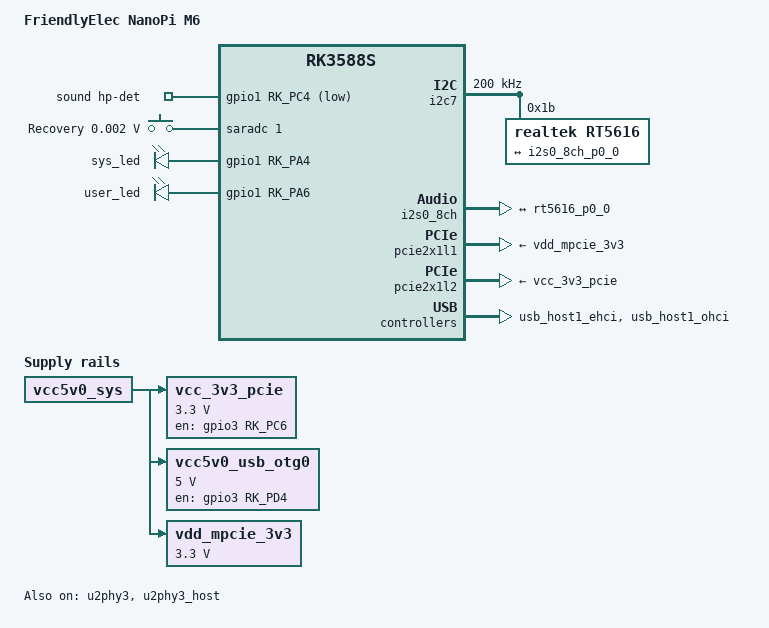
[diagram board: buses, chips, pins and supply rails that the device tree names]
// SPDX-License-Identifier: (GPL-2.0+ OR MIT)

/dts-v1/;

#include "rk3588s-nanopi.dtsi"

/ {
	model = "FriendlyElec NanoPi M6";
	compatible = "friendlyarm,nanopi-m6", "rockchip,rk3588s";

	sound {
		compatible = "simple-audio-card";
		pinctrl-names = "default";
		pinctrl-0 = <&hp_det>;

		simple-audio-card,name = "realtek,rt5616-codec";
		simple-audio-card,format = "i2s";
		simple-audio-card,mclk-fs = <256>;

		simple-audio-card,hp-det-gpios = <&gpio1 RK_PC4 GPIO_ACTIVE_LOW>;

		simple-audio-card,widgets =
			"Headphone", "Headphones",
			"Microphone", "Microphone Jack";
		simple-audio-card,routing =
			"Headphones", "HPOL",
			"Headphones", "HPOR",
			"MIC1", "Microphone Jack",
			"Microphone Jack", "micbias1";

		simple-audio-card,cpu {
			sound-dai = <&i2s0_8ch>;
		};

		simple-audio-card,codec {
			sound-dai = <&rt5616>;
		};
	};

	adc-keys-1 {
		compatible = "adc-keys";
		io-channels = <&saradc 1>;
		io-channel-names = "buttons";
		keyup-threshold-microvolt = <1800000>;
		poll-interval = <100>;

		button-maskrom {
			label = "Recovery";
			linux,code = <KEY_VENDOR>;
			press-threshold-microvolt = <1800>;
		};
	};

	leds {
		compatible = "gpio-leds";

		sys_led: led-0 {
			label = "sys_led";
			gpios = <&gpio1 RK_PA4 GPIO_ACTIVE_HIGH>;
			linux,default-trigger = "heartbeat";
			pinctrl-names = "default";
			pinctrl-0 = <&sys_led_pin>;
		};

		user_led: led-1 {
			label = "user_led";
			gpios = <&gpio1 RK_PA6 GPIO_ACTIVE_HIGH>;
			pinctrl-names = "default";
			pinctrl-0 = <&user_led_pin>;
		};
	};

	vcc_3v3_pcie: regulator-vcc-3v3-pcie {
		compatible = "regulator-fixed";
		enable-active-high;
		gpios = <&gpio3 RK_PC6 GPIO_ACTIVE_HIGH>;
		pinctrl-names = "default";
		pinctrl-0 = <&pcie2_2_pwren>;
		regulator-name = "vcc_3v3_pcie";
		regulator-min-microvolt = <3300000>;
		regulator-max-microvolt = <3300000>;
		vin-supply = <&vcc5v0_sys>;
	};

	vcc5v0_usb_otg0: regulator-vcc5v0-usb-otg0 {
		compatible = "regulator-fixed";
		enable-active-high;
		gpios = <&gpio3 RK_PD4 GPIO_ACTIVE_HIGH>;
		pinctrl-names = "default";
		pinctrl-0 = <&typec5v_pwren>;
		regulator-name = "vcc5v0_usb_otg0";
		regulator-min-microvolt = <5000000>;
		regulator-max-microvolt = <5000000>;
		vin-supply = <&vcc5v0_sys>;
	};

	vdd_mpcie_3v3: regulator-vdd-mpcie-3v3 {
		compatible = "regulator-fixed";
		/* Controlled by EXT_EN on RK806 */
		regulator-name = "vdd_mpcie_3v3";
		regulator-min-microvolt = <3300000>;
		regulator-max-microvolt = <3300000>;
		vin-supply = <&vcc5v0_sys>;
	};
};

&i2c7 {
	clock-frequency = <200000>;
	status = "okay";

	rt5616: codec@1b {
		compatible = "realtek,rt5616";
		reg = <0x1b>;
		clocks = <&cru I2S0_8CH_MCLKOUT>;
		clock-names = "mclk";
		#sound-dai-cells = <0>;
		assigned-clocks = <&cru I2S0_8CH_MCLKOUT>;
		assigned-clock-rates = <12288000>;

		port {
			rt5616_p0_0: endpoint {
				remote-endpoint = <&i2s0_8ch_p0_0>;
			};
		};
	};
};

&i2s0_8ch {
	pinctrl-names = "default";
	pinctrl-0 = <&i2s0_lrck
		     &i2s0_mclk
		     &i2s0_sclk
		     &i2s0_sdi0
		     &i2s0_sdo0>;
	status = "okay";

	i2s0_8ch_p0: port {
		i2s0_8ch_p0_0: endpoint {
			dai-format = "i2s";
			mclk-fs = <256>;
			remote-endpoint = <&rt5616_p0_0>;
		};
	};
};

&pcie2x1l1 { /* M.2 E-key 2230 */
	vpcie3v3-supply = <&vdd_mpcie_3v3>;
};

&pcie2x1l2 { /* M.2 M-key 2280 */
	pinctrl-0 = <&pcie2_2_rst>, <&pcie20x1m0_clkreqn>, <&pcie20x1m0_waken>;
	vpcie3v3-supply = <&vcc_3v3_pcie>;
};

&pinctrl {
	gpio-leds {
		sys_led_pin: sys-led-pin {
			rockchip,pins = <1 RK_PA4 RK_FUNC_GPIO &pcfg_pull_none>;
		};

		user_led_pin: user-led-pin {
			rockchip,pins = <1 RK_PA6 RK_FUNC_GPIO &pcfg_pull_none>;
		};
	};

	headphone {
		hp_det: hp-det {
			rockchip,pins = <1 RK_PC4 RK_FUNC_GPIO &pcfg_pull_none>;
		};
	};

	pcie {
		pcie2_2_pwren: pcie2-2-pwren {
			rockchip,pins = <3 RK_PC6 RK_FUNC_GPIO &pcfg_pull_none>;
		};
	};

	usb {
		typec5v_pwren: typec5v-pwren {
			rockchip,pins = <3 RK_PD4 RK_FUNC_GPIO &pcfg_pull_none>;
		};
	};
};

&u2phy3 {
	status = "okay";
};

&u2phy3_host {
	phy-supply = <&vcc5v0_host_20>;
	status = "okay";
};

&usb_host1_ehci {
	status = "okay";
};

&usb_host1_ohci {
	status = "okay";
};
